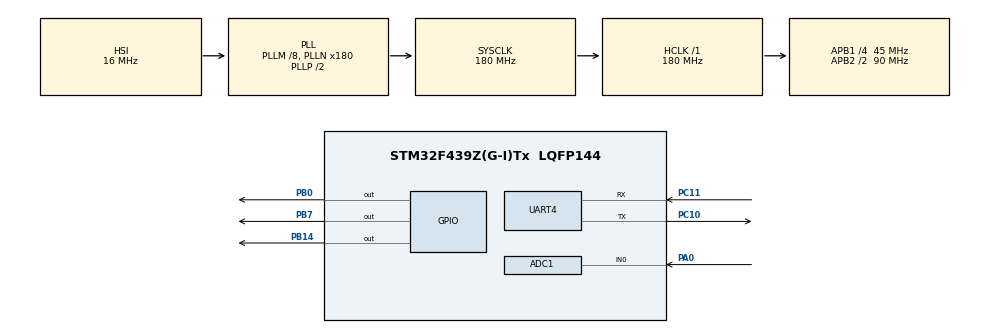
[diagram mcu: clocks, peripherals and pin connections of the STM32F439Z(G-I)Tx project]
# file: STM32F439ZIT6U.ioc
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ADC1.Channel-1\#ChannelRegularConversion=ADC_CHANNEL_0
ADC1.ContinuousConvMode=ENABLE
ADC1.DMAContinuousRequests=ENABLE
ADC1.InjNumberOfConversion=0
ADC1.NbrOfConversionFlag=1
ADC1.Rank-1\#ChannelRegularConversion=1
ADC1.SamplingTime-1\#ChannelRegularConversion=ADC_SAMPLETIME_480CYCLES
ADC1.ScanConvMode=ENABLE
ADC1.master=1
Dma.ADC1.0.Direction=DMA_PERIPH_TO_MEMORY
Dma.ADC1.0.FIFOMode=DMA_FIFOMODE_DISABLE
Dma.ADC1.0.Instance=DMA2_Stream0
Dma.ADC1.0.MemDataAlignment=DMA_MDATAALIGN_HALFWORD
Dma.ADC1.0.MemInc=DMA_MINC_ENABLE
Dma.ADC1.0.Mode=DMA_CIRCULAR
Dma.ADC1.0.PeriphDataAlignment=DMA_PDATAALIGN_HALFWORD
Dma.ADC1.0.PeriphInc=DMA_PINC_DISABLE
Dma.ADC1.0.Priority=DMA_PRIORITY_LOW
Dma.Request0=ADC1
Dma.Request1=UART4_TX
Dma.UART4_TX.1.Direction=DMA_MEMORY_TO_PERIPH
Dma.UART4_TX.1.FIFOMode=DMA_FIFOMODE_DISABLE
Dma.UART4_TX.1.Instance=DMA1_Stream4
Dma.UART4_TX.1.MemDataAlignment=DMA_MDATAALIGN_BYTE
Dma.UART4_TX.1.MemInc=DMA_MINC_ENABLE
Dma.UART4_TX.1.Mode=DMA_NORMAL
Dma.UART4_TX.1.PeriphDataAlignment=DMA_PDATAALIGN_BYTE
Dma.UART4_TX.1.PeriphInc=DMA_PINC_DISABLE
Dma.UART4_TX.1.Priority=DMA_PRIORITY_LOW
FREERTOS.Tasks01=defaultTask,0,128,StartDefaultTask,Default,NULL,Dynamic,NULL,NULL;SensorTask,0,128,StartTask02,Default,NULL,Dynamic,NULL,NULL
Mcu.Family=STM32F4
Mcu.Name=STM32F439Z(G-I)Tx
Mcu.Package=LQFP144
NVIC.DMA1_Stream4_IRQn=true\:5\:0\:false\:false\:true\:true\:false\:true\:true
NVIC.DMA2_Stream0_IRQn=true\:5\:0\:false\:false\:true\:true\:false\:true\:true
NVIC.PriorityGroup=NVIC_PRIORITYGROUP_4
NVIC.TIM2_IRQn=true\:5\:0\:false\:false\:true\:true\:true\:true\:true
NVIC.UART4_IRQn=true\:5\:0\:false\:false\:true\:true\:true\:true\:true
PA0/WKUP.Signal=ADCx_IN0
PA13.Mode=Serial_Wire
PA13.Signal=SYS_JTMS-SWDIO
PA14.Mode=Serial_Wire
PA14.Signal=SYS_JTCK-SWCLK
PB0.Signal=GPIO_Output
PB14.Signal=GPIO_Output
PB7.Signal=GPIO_Output
PC10.Mode=Asynchronous
PC10.Signal=UART4_TX
PC11.Mode=Asynchronous
PC11.Signal=UART4_RX
PH0/OSC_IN.Mode=HSE-External-Oscillator
PH0/OSC_IN.Signal=RCC_OSC_IN
PH1/OSC_OUT.Mode=HSE-External-Oscillator
PH1/OSC_OUT.Signal=RCC_OSC_OUT
ProjectManager.HeapSize=0x200
ProjectManager.StackSize=0x400
ProjectManager.TargetToolchain=STM32CubeIDE
RCC.48MHZClocksFreq_Value=90000000
RCC.AHBFreq_Value=180000000
RCC.APB1CLKDivider=RCC_HCLK_DIV4
RCC.APB1Freq_Value=45000000
RCC.APB1TimFreq_Value=90000000
RCC.APB2CLKDivider=RCC_HCLK_DIV2
RCC.APB2Freq_Value=90000000
RCC.APB2TimFreq_Value=180000000
RCC.CortexFreq_Value=180000000
RCC.HCLKFreq_Value=180000000
RCC.HSE_VALUE=25000000
RCC.HSI_VALUE=16000000
RCC.LSE_VALUE=32768
RCC.PLLM=8
RCC.PLLN=180
RCC.SYSCLKFreq_VALUE=180000000
RCC.SYSCLKSource=RCC_SYSCLKSOURCE_PLLCLK
RCC.VCOOutputFreq_Value=360000000
SH.ADCx_IN0.0=ADC1_IN0,IN0
TIM2.AutoReloadPreload=TIM_AUTORELOAD_PRELOAD_ENABLE
TIM2.Period=5000-1
TIM2.Prescaler=18000-1
UART4.VirtualMode=Asynchronous
VP_FREERTOS_VS_CMSIS_V1.Mode=CMSIS_V1
VP_TIM2_VS_ClockSourceINT.Mode=Internal
board=custom

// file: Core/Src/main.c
/* USER CODE BEGIN Header */
/**
  ******************************************************************************
  * @file           : main.c
  * @brief          : Main program body
  ******************************************************************************
  * @attention
  *
  * Copyright (c) 2026 STMicroelectronics.
  * All rights reserved.
  *
  * This software is licensed under terms that can be found in the LICENSE file
  * in the root directory of this software component.
  * If no LICENSE file comes with this software, it is provided AS-IS.
  *
  ******************************************************************************
  */
/* USER CODE END Header */
#include "main.h"
#include "cmsis_os.h"
#include "adc.h"
#include "dma.h"
#include "tim.h"
#include "usart.h"
#include "gpio.h"

/* USER CODE BEGIN PV */
uint32_t timer_ticks = 0;
uint8_t process_finished = 0;
uint16_t adc_value[1];
char msg[50];

/* USER CODE END PV */

void SystemClock_Config(void);
void MX_FREERTOS_Init(void);

int main(void)
{

  /* MCU Configuration--------------------------------------------------------*/

  /* Reset of all peripherals, Initializes the Flash interface and the Systick. */
  HAL_Init();

  /* Configure the system clock */
  SystemClock_Config();

  /* Initialize all configured peripherals */
  MX_GPIO_Init();
  MX_DMA_Init();
  MX_TIM2_Init();
  MX_ADC1_Init();
  MX_UART4_Init();
  /* USER CODE BEGIN 2 */
  HAL_TIM_Base_Start_IT(&htim2);
  HAL_ADC_Start_DMA(&hadc1, (uint32_t*)adc_value, 1);
  /* USER CODE END 2 */

  /* Call init function for freertos objects (in cmsis_os2.c) */
  MX_FREERTOS_Init();

  /* Start scheduler */
  osKernelStart();

  /* We should never get here as control is now taken by the scheduler */

  /* Infinite loop */
  while (1)
  {

  }
}

void SystemClock_Config(void)
{
  RCC_OscInitTypeDef RCC_OscInitStruct = {0};
  RCC_ClkInitTypeDef RCC_ClkInitStruct = {0};

  /** Configure the main internal regulator output voltage
  */
  __HAL_RCC_PWR_CLK_ENABLE();
  __HAL_PWR_VOLTAGESCALING_CONFIG(PWR_REGULATOR_VOLTAGE_SCALE1);

  /** Initializes the RCC Oscillators according to the specified parameters
  * in the RCC_OscInitTypeDef structure.
  */
  RCC_OscInitStruct.OscillatorType = RCC_OSCILLATORTYPE_HSI;
  RCC_OscInitStruct.HSIState = RCC_HSI_ON;
  RCC_OscInitStruct.HSICalibrationValue = RCC_HSICALIBRATION_DEFAULT;
  RCC_OscInitStruct.PLL.PLLState = RCC_PLL_ON;
  RCC_OscInitStruct.PLL.PLLSource = RCC_PLLSOURCE_HSI;
  RCC_OscInitStruct.PLL.PLLM = 8;
  RCC_OscInitStruct.PLL.PLLN = 180;
  RCC_OscInitStruct.PLL.PLLP = RCC_PLLP_DIV2;
  RCC_OscInitStruct.PLL.PLLQ = 4;
  if (HAL_RCC_OscConfig(&RCC_OscInitStruct) != HAL_OK)
  {
    Error_Handler();
  }

  /** Activate the Over-Drive mode
  */
  if (HAL_PWREx_EnableOverDrive() != HAL_OK)
  {
    Error_Handler();
  }

  /** Initializes the CPU, AHB and APB buses clocks
  */
  RCC_ClkInitStruct.ClockType = RCC_CLOCKTYPE_HCLK|RCC_CLOCKTYPE_SYSCLK
                              |RCC_CLOCKTYPE_PCLK1|RCC_CLOCKTYPE_PCLK2;
  RCC_ClkInitStruct.SYSCLKSource = RCC_SYSCLKSOURCE_PLLCLK;
  RCC_ClkInitStruct.AHBCLKDivider = RCC_SYSCLK_DIV1;
  RCC_ClkInitStruct.APB1CLKDivider = RCC_HCLK_DIV4;
  RCC_ClkInitStruct.APB2CLKDivider = RCC_HCLK_DIV2;

  if (HAL_RCC_ClockConfig(&RCC_ClkInitStruct, FLASH_LATENCY_5) != HAL_OK)
  {
    Error_Handler();
  }
}

/* USER CODE BEGIN 4 */
void HAL_TIM_PeriodElapsedCallback(TIM_HandleTypeDef *htim) {
    if (htim->Instance == TIM2) {
        if (timer_ticks < 20) {
            // Logika kedipan dipindah ke Task, di sini cukup hitung waktu
            timer_ticks++;
        } else if (!process_finished) {
            process_finished = 1;
            HAL_TIM_Base_Stop_IT(&htim2);
        }
    }
}
/* USER CODE END 4 */

void Error_Handler(void)
{
  __disable_irq();
  while (1)
  {
  }
}

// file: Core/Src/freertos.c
/* USER CODE BEGIN Header */
/**
  ******************************************************************************
  * File Name          : freertos.c
  * Description        : Code for freertos applications
  ******************************************************************************
  * @attention
  *
  * Copyright (c) 2026 STMicroelectronics.
  * All rights reserved.
  *
  * This software is licensed under terms that can be found in the LICENSE file
  * in the root directory of this software component.
  * If no LICENSE file comes with this software, it is provided AS-IS.
  *
  ******************************************************************************
  */
/* USER CODE END Header */

#include "FreeRTOS.h"
#include "task.h"
#include "main.h"
#include "cmsis_os.h"

/* USER CODE BEGIN Variables */
#include <stdio.h> // Untuk sprintf
#include "usart.h" // Agar huart4 terbaca

extern uint16_t adc_value[1];     // Data dari ADC DMA
extern char msg[50];              // Buffer pesan
extern uint8_t process_finished;  // Indikator status Tugas 1
/* USER CODE END Variables */
osThreadId defaultTaskHandle;
osThreadId SensorTaskHandle;

void StartDefaultTask(void const * argument);
void StartTask02(void const * argument);

void MX_FREERTOS_Init(void); /* (MISRA C 2004 rule 8.1) */

/* GetIdleTaskMemory prototype (linked to static allocation support) */
void vApplicationGetIdleTaskMemory( StaticTask_t **ppxIdleTaskTCBBuffer, StackType_t **ppxIdleTaskStackBuffer, uint32_t *pulIdleTaskStackSize );

/* USER CODE BEGIN GET_IDLE_TASK_MEMORY */
static StaticTask_t xIdleTaskTCBBuffer;
static StackType_t xIdleStack[configMINIMAL_STACK_SIZE];

void vApplicationGetIdleTaskMemory( StaticTask_t **ppxIdleTaskTCBBuffer, StackType_t **ppxIdleTaskStackBuffer, uint32_t *pulIdleTaskStackSize )
{
  *ppxIdleTaskTCBBuffer = &xIdleTaskTCBBuffer;
  *ppxIdleTaskStackBuffer = &xIdleStack[0];
  *pulIdleTaskStackSize = configMINIMAL_STACK_SIZE;
  /* place for user code */
}
/* USER CODE END GET_IDLE_TASK_MEMORY */

void MX_FREERTOS_Init(void) {

  /* Create the thread(s) */
  /* definition and creation of defaultTask */
  osThreadDef(defaultTask, StartDefaultTask, osPriorityNormal, 0, 128);
  defaultTaskHandle = osThreadCreate(osThread(defaultTask), NULL);

  /* definition and creation of SensorTask */
  osThreadDef(SensorTask, StartTask02, osPriorityNormal, 0, 128);
  SensorTaskHandle = osThreadCreate(osThread(SensorTask), NULL);

}

void StartDefaultTask(void const * argument)
{
  /* USER CODE BEGIN StartDefaultTask */
  /* Infinite loop */
  for(;;)
  {
	  // Sesuai Verifikasi: CPU bebas menangani tugas lain (Blink LED)
	      if (!process_finished) {
	          // Blink LED1 dan LED2 selama 10 detik pertama
	          HAL_GPIO_TogglePin(GPIOB, GPIO_PIN_0);
	          HAL_GPIO_TogglePin(GPIOB, GPIO_PIN_7);
	      } else {
	          // Setelah 10 detik, pastikan LED3 menyala sesuai Tugas 1
	          HAL_GPIO_WritePin(GPIOB, GPIO_PIN_0, GPIO_PIN_RESET);
	          HAL_GPIO_WritePin(GPIOB, GPIO_PIN_7, GPIO_PIN_RESET);
	          HAL_GPIO_WritePin(GPIOB, GPIO_PIN_14, GPIO_PIN_SET);
	      }

	      // Delay 500ms (Non-blocking, CPU akan pindah ke Task lain)
	      osDelay(500);

  }
  /* USER CODE END StartDefaultTask */
}

void StartTask02(void const * argument)
{
  /* USER CODE BEGIN StartTask02 */
  /* Infinite loop */
  for(;;)
  {
	  // Membaca data analog (diupdate otomatis oleh DMA di background)
	      int len = sprintf(msg, "Sensor Value: %d | Status: %s\r\n",
	                        (int)adc_value[0],
	                        process_finished ? "FINISHED" : "BLINKING");

	      // Menggunakan UART DMA agar transmisi tidak membebani CPU (Non-blocking)
	      HAL_UART_Transmit_DMA(&huart4, (uint8_t*)msg, len);

	      // Verifikasi: Update setiap 100ms
	      osDelay(100);
  }
  /* USER CODE END StartTask02 */
}
